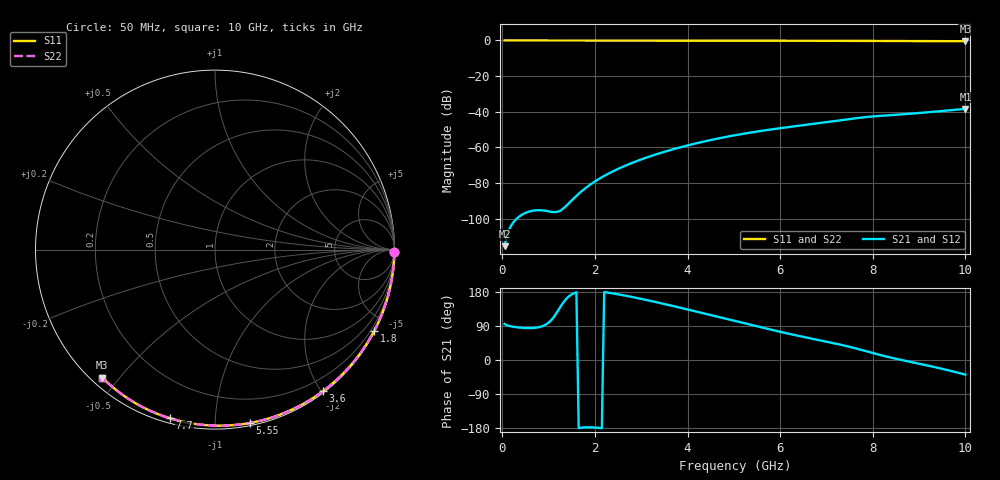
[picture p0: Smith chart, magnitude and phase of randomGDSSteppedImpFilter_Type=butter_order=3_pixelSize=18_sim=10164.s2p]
! freq	dB(S11)	phase(S11)	dB(S12)	phase(S12)
!  dB(S21)	phase(S21)	dB(S22)	phase(S22)
!S-par simulation data
#  GHz  S  DB  R 50
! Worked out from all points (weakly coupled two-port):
!   200 points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, 50 MHz to 10 GHz, reference 50 ohm
!   highest |S21| = -38.35 dB at 10 GHz (marker M1); lowest = -115.3 dB at 50 MHz (marker M2)
!   lowest |S11| = -0.4 dB at 10 GHz (marker M3), VSWR 39.08, Z = 1.54 - j22.6 ohm
!   |S11| at or under -10 dB: nowhere
!   |S22| runs from -0.4 to 0.0 dB; largest |S21 - S12| = 0
!   S11 on the Smith chart (normalised r, x): 50 MHz: open; 1.8 GHz: 0.04, -4.18; 3.6 GHz: 0.02, -2.02; 5.55 GHz: 0.02, -1.22; 7.7 GHz: 0.02, -0.77; 10 GHz: 0.03, -0.45
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0.05  -0.00 -0.8  -115.31 95.2  -115.31 95.2  -0.00 -0.8
0.9  -0.02 -13.6  -95.35 90.9  -95.35 90.9  -0.02 -13.6
1.75  -0.03 -26.2  -83.72 -178.0  -83.72 -178.0  -0.03 -26.2
1.8  -0.03 -26.9  -82.69 -177.6  -82.69 -177.6  -0.03 -26.9
1.95  -0.04 -29.1  -79.89 -177.8  -79.89 -177.8  -0.04 -29.1
2.1  -0.04 -31.3  -77.43 -179.3  -77.43 -179.3  -0.04 -31.3
2.25  -0.04 -33.5  -75.21 178.4  -75.21 178.4  -0.04 -33.5
2.55  -0.05 -37.8  -71.39 172.3  -71.39 172.3  -0.05 -37.8
2.95  -0.06 -43.5  -67.16 162.5  -67.16 162.5  -0.06 -43.5
3.4  -0.07 -49.8  -63.20 150.5  -63.20 150.5  -0.07 -49.8
3.6  -0.07 -52.6  -61.64 144.9  -61.64 144.9  -0.07 -52.6
3.9  -0.08 -56.8  -59.50 136.3  -59.50 136.3  -0.08 -56.8
4.3  -0.09 -62.2  -56.96 124.5  -56.96 124.5  -0.09 -62.2
5.05  -0.11 -72.1  -53.01 102.0  -53.01 102.0  -0.11 -72.1
5.55  -0.13 -78.6  -50.86 87.2  -50.86 87.2  -0.13 -78.6
6.1  -0.15 -85.6  -48.83 71.6  -48.83 71.6  -0.15 -85.6
6.7  -0.18 -93.0  -46.84 55.8  -46.84 55.8  -0.18 -93.0
7.7  -0.24 -105.0  -43.39 28.5  -43.39 28.5  -0.24 -105.0
8  -0.26 -108.5  -42.58 18.3  -42.58 18.3  -0.26 -108.5
8.35  -0.29 -112.6  -41.93 7.5  -41.93 7.5  -0.29 -112.6
9.15  -0.36 -121.7  -40.34 -13.7  -40.34 -13.7  -0.36 -121.7
10  -0.44 -131.3  -38.35 -38.7  -38.35 -38.7  -0.44 -131.3
